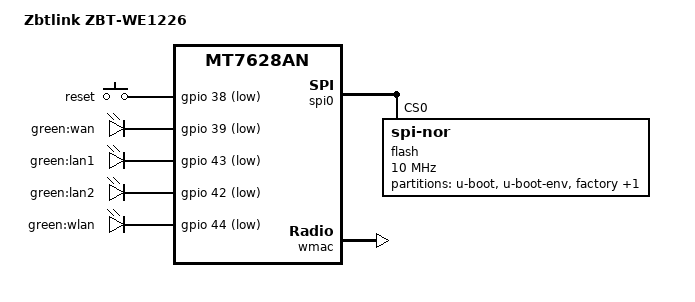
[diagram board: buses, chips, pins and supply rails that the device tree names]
#include "mt7628an.dtsi"

#include <dt-bindings/input/input.h>
#include <dt-bindings/gpio/gpio.h>

/ {
	compatible = "zbtlink,zbt-we1226", "mediatek,mt7628an-soc";
	model = "Zbtlink ZBT-WE1226";

	aliases {
		led-boot = &led_wlan;
		led-failsafe = &led_wlan;
		led-running = &led_wlan;
		led-upgrade = &led_wlan;
	};

	chosen {
		bootargs = "console=ttyS0,115200";
	};

	keys {
		compatible = "gpio-keys";

		reset {
			label = "reset";
			gpios = <&gpio 38 GPIO_ACTIVE_LOW>;
			linux,code = <KEY_RESTART>;
		};
	};

	leds {
		compatible = "gpio-leds";

		wan {
			label = "green:wan";
			gpios = <&gpio 39 GPIO_ACTIVE_LOW>;
		};

		lan1 {
			label = "green:lan1";
			gpios = <&gpio 43 GPIO_ACTIVE_LOW>;
		};

		lan2 {
			label = "green:lan2";
			gpios = <&gpio 42 GPIO_ACTIVE_LOW>;
		};

		led_wlan: wlan {
			label = "green:wlan";
			gpios = <&gpio 44 GPIO_ACTIVE_LOW>;
		};
	};
};

&state_default {
	gpio {
		groups = "p0led_an", "p1led_an", "p4led_an", "wdt", "wled_an";
		function = "gpio";
	};
};

&spi0 {
	status = "okay";

	flash@0 {
		compatible = "jedec,spi-nor";
		reg = <0>;
		spi-max-frequency = <10000000>;

		partitions {
			compatible = "fixed-partitions";
			#address-cells = <1>;
			#size-cells = <1>;

			partition@0 {
				label = "u-boot";
				reg = <0x0 0x30000>;
				read-only;
			};

			partition@30000 {
				label = "u-boot-env";
				reg = <0x30000 0x10000>;
				read-only;
			};

			factory: partition@40000 {
				label = "factory";
				reg = <0x40000 0x10000>;
				read-only;
			};

			partition@50000 {
				compatible = "denx,uimage";
				label = "firmware";
				reg = <0x50000 0x7b0000>;
			};
		};
	};
};

&wmac {
	status = "okay";

	mediatek,mtd-eeprom = <&factory 0x0>;
};

&ethernet {
	nvmem-cells = <&macaddr_factory_2e>;
	nvmem-cell-names = "mac-address";
};

&esw {
	mediatek,portmap = <0x2f>;
};

&factory {
	compatible = "nvmem-cells";
	#address-cells = <1>;
	#size-cells = <1>;

	macaddr_factory_2e: macaddr@2e {
		reg = <0x2e 0x6>;
	};
};
